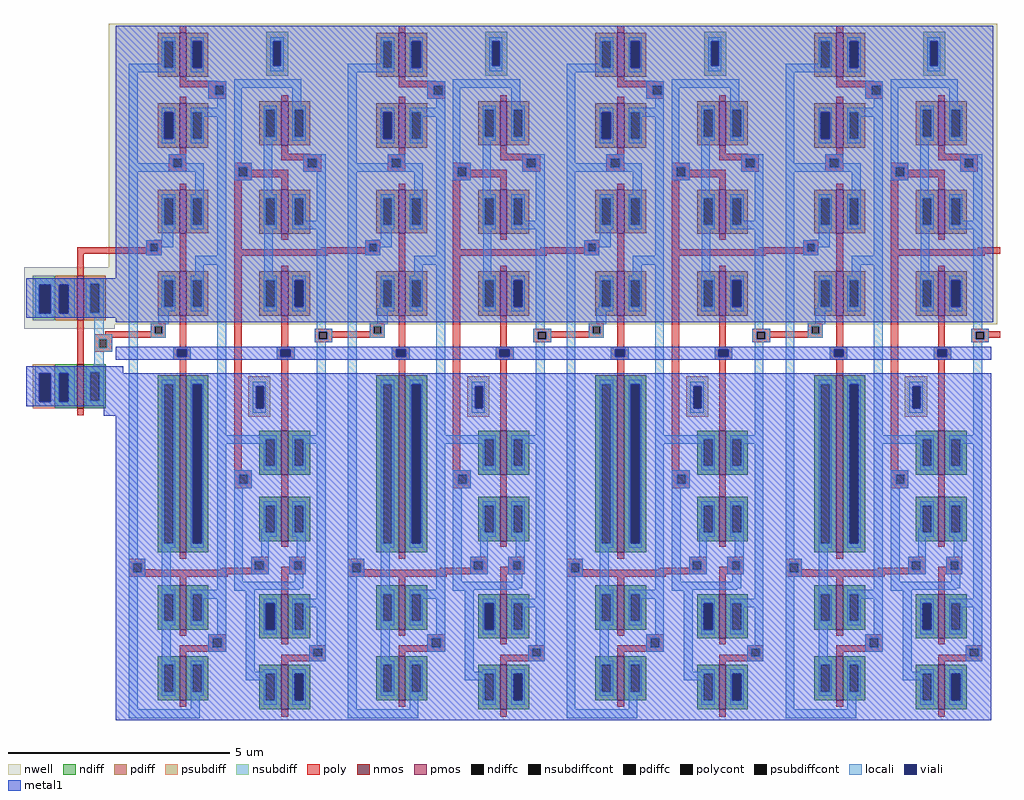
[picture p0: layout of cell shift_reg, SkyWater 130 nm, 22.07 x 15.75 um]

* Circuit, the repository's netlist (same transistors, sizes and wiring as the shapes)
* NGSPICE file created from shift_reg.ext - technology: sky130A

.subckt inverter VN VP A Y
X0 Y A VP VP sky130_fd_pr__pfet_01v8 ad=0.5 pd=3 as=0.5 ps=3 w=1 l=0.15
X1 Y A VN VN sky130_fd_pr__nfet_01v8 ad=0.5 pd=3 as=0.5 ps=3 w=1 l=0.15
.ends

.subckt csrl_latch D D_bar CLK VN VP Q Q_bar
X0 VN CLK a_n100_n1040# VN sky130_fd_pr__nfet_01v8 ad=2 pd=9 as=2 ps=9 w=4 l=0.15
X1 a_0_n1070# CLK D_bar VP sky130_fd_pr__pfet_01v8 ad=0.5 pd=3 as=0.5 ps=3 w=1 l=0.15
X2 Q Q_bar a_360_700# VP sky130_fd_pr__pfet_01v8 ad=0.5 pd=3 as=0.5 ps=3 w=1 l=0.15
X3 a_0_n1070# a_n230_n480# VP VP sky130_fd_pr__pfet_01v8 ad=0.5 pd=3 as=0.5 ps=3 w=1 l=0.15
X4 a_0_n1070# a_n230_n480# a_n100_n1040# VN sky130_fd_pr__nfet_01v8 ad=0.5 pd=3 as=0.5 ps=3 w=1 l=0.15
X5 Q_bar Q VN VN sky130_fd_pr__nfet_01v8 ad=0.5 pd=3 as=0.5 ps=3 w=1 l=0.15
X6 Q_bar Q a_360_700# VP sky130_fd_pr__pfet_01v8 ad=0.5 pd=3 as=0.5 ps=3 w=1 l=0.15
X7 VN Q_bar Q VN sky130_fd_pr__nfet_01v8 ad=0.5 pd=3 as=0.5 ps=3 w=1 l=0.15
X8 a_n230_n480# a_0_n1070# a_n100_n1040# VN sky130_fd_pr__nfet_01v8 ad=0.5 pd=3 as=0.5 ps=3 w=1 l=0.15
X9 VP a_0_n1070# a_n230_n480# VP sky130_fd_pr__pfet_01v8 ad=0.5 pd=3 as=0.5 ps=3 w=1 l=0.15
X10 VP CLK a_360_700# VP sky130_fd_pr__pfet_01v8 ad=0.5 pd=3 as=0.5 ps=3 w=1 l=0.15
X11 Q CLK a_n230_n480# VN sky130_fd_pr__nfet_01v8 ad=0.5 pd=3 as=0.5 ps=3 w=1 l=0.15
X12 Q_bar CLK a_0_n1070# VN sky130_fd_pr__nfet_01v8 ad=0.5 pd=3 as=0.5 ps=3 w=1 l=0.15
X13 a_n230_n480# CLK D VP sky130_fd_pr__pfet_01v8 ad=0.495 pd=2.98 as=0.495 ps=2.98 w=0.99 l=0.15
.ends


* Top level circuit shift_reg

Xinverter_0 VSUBS inverter_0/VP inverter_0/A inverter_0/Y inverter
Xcsrl_latch_0 inverter_0/A inverter_0/Y csrl_latch_3/CLK VSUBS inverter_0/VP csrl_latch_1/D
+ csrl_latch_1/D_bar csrl_latch
Xcsrl_latch_1 csrl_latch_1/D csrl_latch_1/D_bar csrl_latch_3/CLK VSUBS inverter_0/VP
+ csrl_latch_2/D csrl_latch_2/D_bar csrl_latch
Xcsrl_latch_2 csrl_latch_2/D csrl_latch_2/D_bar csrl_latch_3/CLK VSUBS inverter_0/VP
+ csrl_latch_3/D csrl_latch_3/D_bar csrl_latch
Xcsrl_latch_3 csrl_latch_3/D csrl_latch_3/D_bar csrl_latch_3/CLK VSUBS inverter_0/VP
+ csrl_latch_3/Q csrl_latch_3/Q_bar csrl_latch
.end

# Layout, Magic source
magic
tech sky130A
<< poly >>
rect -72 1055 10 1070
rect -72 1020 -57 1055
rect -8 871 8 880
<< metal1 >>
rect -5 910 24 1000
rect -12 689 32 800
use csrl_latch  csrl_latch_0
transform 1 0 160 0 1 565
box -160 -565 370 1010
use csrl_latch  csrl_latch_1
transform 1 0 655 0 1 565
box -160 -565 370 1010
use csrl_latch  csrl_latch_2
transform 1 0 1150 0 1 565
box -160 -565 370 1010
use csrl_latch  csrl_latch_3
transform 1 0 1645 0 1 565
box -160 -565 370 1010
use inverter  inverter_0
transform 1 0 -72 0 1 705
box -120 -15 85 319
<< end >>

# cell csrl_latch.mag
magic
tech sky130A
<< nwell >>
rect -160 330 364 1010
<< nmos >>
rect 0 -185 15 215
rect 230 -10 245 90
rect 230 -160 245 -60
rect 0 -360 15 -260
rect 230 -380 245 -280
rect 0 -520 15 -420
rect 230 -540 245 -440
<< pmos >>
rect 0 890 15 990
rect 0 730 15 830
rect 230 735 245 835
rect 0 536 15 635
rect 230 535 245 635
rect 0 350 15 450
rect 230 350 245 450
<< ndiff >>
rect -50 195 0 215
rect -50 -165 -35 195
rect -15 -165 0 195
rect -50 -185 0 -165
rect 15 195 65 215
rect 15 -165 30 195
rect 50 -165 65 195
rect 180 70 230 90
rect 180 10 195 70
rect 215 10 230 70
rect 180 -10 230 10
rect 245 70 295 90
rect 245 10 260 70
rect 280 10 295 70
rect 245 -10 295 10
rect 180 -80 230 -60
rect 180 -140 195 -80
rect 215 -140 230 -80
rect 180 -160 230 -140
rect 245 -80 295 -60
rect 245 -140 260 -80
rect 280 -140 295 -80
rect 245 -160 295 -140
rect 15 -185 65 -165
rect -50 -280 0 -260
rect -50 -340 -35 -280
rect -15 -340 0 -280
rect -50 -360 0 -340
rect 15 -280 65 -260
rect 15 -340 30 -280
rect 50 -340 65 -280
rect 15 -360 65 -340
rect 180 -300 230 -280
rect 180 -360 195 -300
rect 215 -360 230 -300
rect 180 -380 230 -360
rect 245 -300 295 -280
rect 245 -360 260 -300
rect 280 -360 295 -300
rect 245 -380 295 -360
rect -50 -440 0 -420
rect -50 -500 -35 -440
rect -15 -500 0 -440
rect -50 -520 0 -500
rect 15 -440 65 -420
rect 15 -500 30 -440
rect 50 -500 65 -440
rect 15 -520 65 -500
rect 180 -460 230 -440
rect 180 -520 195 -460
rect 215 -520 230 -460
rect 180 -540 230 -520
rect 245 -460 295 -440
rect 245 -520 260 -460
rect 280 -520 295 -460
rect 245 -540 295 -520
<< pdiff >>
rect -50 970 0 990
rect -50 910 -35 970
rect -15 910 0 970
rect -50 890 0 910
rect 15 970 65 990
rect 15 910 30 970
rect 50 910 65 970
rect 15 890 65 910
rect -50 810 0 830
rect -50 750 -35 810
rect -15 750 0 810
rect -50 730 0 750
rect 15 810 65 830
rect 15 750 30 810
rect 50 750 65 810
rect 15 730 65 750
rect 180 815 230 835
rect 180 755 195 815
rect 215 755 230 815
rect 180 735 230 755
rect 245 815 295 835
rect 245 755 260 815
rect 280 755 295 815
rect 245 735 295 755
rect -50 615 0 635
rect -50 555 -35 615
rect -15 555 0 615
rect -50 536 0 555
rect 15 615 65 635
rect 15 555 30 615
rect 50 555 65 615
rect 15 536 65 555
rect 180 615 230 635
rect 180 555 195 615
rect 215 555 230 615
rect 180 535 230 555
rect 245 615 295 635
rect 245 555 260 615
rect 280 555 295 615
rect 245 535 295 555
rect -50 430 0 450
rect -50 370 -35 430
rect -15 370 0 430
rect -50 350 0 370
rect 15 430 65 450
rect 15 370 30 430
rect 50 370 65 430
rect 15 350 65 370
rect 180 430 230 450
rect 180 370 195 430
rect 215 370 230 430
rect 180 350 230 370
rect 245 430 295 450
rect 245 370 260 430
rect 280 370 295 430
rect 245 350 295 370
<< ndiffc >>
rect -35 -165 -15 195
rect 30 -165 50 195
rect 195 10 215 70
rect 260 10 280 70
rect 195 -140 215 -80
rect 260 -140 280 -80
rect -35 -340 -15 -280
rect 30 -340 50 -280
rect 195 -360 215 -300
rect 260 -360 280 -300
rect -35 -500 -15 -440
rect 30 -500 50 -440
rect 195 -520 215 -460
rect 260 -520 280 -460
<< pdiffc >>
rect -35 910 -15 970
rect 30 910 50 970
rect -35 750 -15 810
rect 30 750 50 810
rect 195 755 215 815
rect 260 755 280 815
rect -35 555 -15 615
rect 30 555 50 615
rect 195 555 215 615
rect 260 555 280 615
rect -35 370 -15 430
rect 30 370 50 430
rect 195 370 215 430
rect 260 370 280 430
<< psubdiff >>
rect 155 190 205 213
rect 155 140 173 190
rect 190 140 205 190
rect 155 121 205 140
<< nsubdiff >>
rect 196 970 246 992
rect 196 915 212 970
rect 229 915 246 970
rect 196 892 246 915
<< psubdiffcont >>
rect 173 140 190 190
<< nsubdiffcont >>
rect 212 915 229 970
<< poly >>
rect 0 990 15 1005
rect 0 881 15 890
rect 0 880 80 881
rect 0 870 105 880
rect 0 866 80 870
rect 65 850 80 866
rect 100 850 105 870
rect 0 830 15 845
rect 65 840 105 850
rect 230 835 245 848
rect 0 715 15 730
rect -25 705 15 715
rect -25 685 -15 705
rect 5 685 15 705
rect 230 716 245 735
rect 230 715 295 716
rect 230 705 320 715
rect 230 701 290 705
rect -25 675 15 685
rect 123 685 163 696
rect 123 665 134 685
rect 153 680 163 685
rect 280 685 290 701
rect 310 685 320 705
rect 153 665 245 680
rect 280 675 320 685
rect 123 663 245 665
rect 123 656 163 663
rect 0 635 15 648
rect -75 512 -41 520
rect -75 505 -66 512
rect -155 495 -66 505
rect -49 495 -41 512
rect -155 490 -41 495
rect -75 487 -41 490
rect 0 450 15 536
rect 123 500 140 656
rect 230 635 245 663
rect 230 522 245 535
rect 320 500 370 505
rect 123 490 370 500
rect 123 485 335 490
rect -65 326 -31 333
rect -65 315 -56 326
rect -155 309 -56 315
rect -39 309 -31 326
rect -155 300 -31 309
rect 0 280 15 350
rect -15 274 25 280
rect -15 257 -5 274
rect 16 257 25 274
rect -15 250 25 257
rect 0 215 15 250
rect 123 0 140 485
rect 230 450 245 463
rect 230 280 245 350
rect 305 315 345 320
rect 305 314 370 315
rect 305 297 315 314
rect 334 300 370 314
rect 334 297 345 300
rect 305 290 345 297
rect 220 274 260 280
rect 220 257 229 274
rect 250 257 260 274
rect 220 250 260 257
rect 230 90 245 250
rect 123 -10 163 0
rect 123 -30 135 -10
rect 154 -30 163 -10
rect 123 -40 163 -30
rect 230 -60 245 -10
rect 230 -173 245 -160
rect 0 -200 15 -185
rect -115 -210 -78 -200
rect -115 -230 -105 -210
rect -86 -224 -78 -210
rect 162 -205 202 -195
rect 162 -220 170 -205
rect -86 -225 -55 -224
rect 93 -225 170 -220
rect 190 -225 202 -205
rect 248 -205 285 -195
rect 248 -218 259 -205
rect -86 -230 202 -225
rect -115 -235 202 -230
rect 230 -225 259 -218
rect 276 -225 285 -205
rect 230 -235 285 -225
rect -115 -240 109 -235
rect 0 -260 15 -240
rect 230 -280 245 -235
rect 0 -374 15 -360
rect 65 -380 105 -370
rect 65 -395 75 -380
rect 0 -400 75 -395
rect 95 -400 105 -380
rect 230 -393 245 -380
rect 0 -410 105 -400
rect 293 -403 330 -395
rect 0 -420 15 -410
rect 293 -417 302 -403
rect 230 -420 302 -417
rect 322 -420 330 -403
rect 230 -432 330 -420
rect 230 -440 245 -432
rect 0 -535 15 -520
rect 230 -557 245 -540
<< polycont >>
rect 80 850 100 870
rect -15 685 5 705
rect 134 665 153 685
rect 290 685 310 705
rect -66 495 -49 512
rect -56 309 -39 326
rect -5 257 16 274
rect 315 297 334 314
rect 229 257 250 274
rect 135 -30 154 -10
rect -105 -230 -86 -210
rect 170 -225 190 -205
rect 259 -225 276 -205
rect 75 -400 95 -380
rect 302 -420 322 -403
<< locali >>
rect -40 970 -10 980
rect -40 920 -35 970
rect -115 910 -35 920
rect -15 910 -10 970
rect -115 900 -10 910
rect 25 970 55 980
rect 25 910 30 970
rect 50 910 55 970
rect 25 900 55 910
rect 205 970 235 980
rect 205 915 212 970
rect 229 915 235 970
rect 205 903 235 915
rect -115 695 -95 900
rect 65 880 85 881
rect 65 870 105 880
rect 65 850 80 870
rect 100 850 105 870
rect 65 840 105 850
rect 85 820 105 840
rect -40 810 -10 820
rect -40 750 -35 810
rect -15 750 -10 810
rect -40 740 -10 750
rect 25 810 105 820
rect 25 750 30 810
rect 50 800 105 810
rect 50 750 55 800
rect 25 740 55 750
rect -25 705 15 715
rect -25 695 -15 705
rect -115 685 -15 695
rect 5 695 15 705
rect 5 685 55 695
rect -115 675 55 685
rect -115 -200 -95 675
rect 35 625 55 675
rect -40 615 -10 625
rect -40 555 -35 615
rect -15 555 -10 615
rect -40 545 -10 555
rect 25 615 55 625
rect 25 555 30 615
rect 50 555 55 615
rect 25 545 55 555
rect -40 522 -15 545
rect -58 520 -15 522
rect -75 512 -15 520
rect -75 495 -66 512
rect -49 505 -15 512
rect -49 495 -41 505
rect -75 487 -41 495
rect 85 485 105 800
rect 123 865 275 885
rect 123 696 140 865
rect 255 825 275 865
rect 190 815 220 825
rect 190 755 195 815
rect 215 755 220 815
rect 190 745 220 755
rect 255 815 285 825
rect 255 755 260 815
rect 280 755 285 815
rect 255 745 285 755
rect 123 685 163 696
rect 123 665 134 685
rect 153 665 163 685
rect 123 656 163 665
rect 190 625 209 745
rect 280 705 330 715
rect 280 685 290 705
rect 310 685 330 705
rect 280 675 330 685
rect 190 615 220 625
rect 190 555 195 615
rect 215 555 220 615
rect 190 545 220 555
rect 255 615 285 625
rect 255 555 260 615
rect 280 565 285 615
rect 310 565 330 675
rect 280 555 330 565
rect 255 545 330 555
rect 35 465 105 485
rect 35 440 55 465
rect -40 430 -10 440
rect -40 378 -35 430
rect -42 370 -35 378
rect -15 370 -10 430
rect -42 367 -10 370
rect -48 360 -10 367
rect 25 430 55 440
rect 25 370 30 430
rect 50 370 55 430
rect 25 360 55 370
rect -48 333 -25 360
rect -65 330 -25 333
rect -65 326 -31 330
rect -65 309 -56 326
rect -39 309 -31 326
rect -65 300 -31 309
rect -15 274 25 280
rect -15 257 -5 274
rect 16 257 25 274
rect -15 250 25 257
rect -40 195 -10 205
rect -40 -165 -35 195
rect -15 -165 -10 195
rect -40 -175 -10 -165
rect 25 195 55 205
rect 25 -165 30 195
rect 50 -165 55 195
rect 25 -175 55 -165
rect 85 80 105 465
rect 191 440 210 545
rect 190 430 220 440
rect 190 370 195 430
rect 215 370 220 430
rect 190 360 220 370
rect 255 430 285 440
rect 255 370 260 430
rect 280 370 285 430
rect 255 360 285 370
rect 310 320 330 545
rect 305 314 345 320
rect 305 297 315 314
rect 334 297 345 314
rect 305 290 345 297
rect 220 274 260 280
rect 220 257 229 274
rect 250 257 260 274
rect 220 250 260 257
rect 165 190 195 200
rect 165 140 173 190
rect 190 140 195 190
rect 165 130 195 140
rect 310 80 330 290
rect 85 70 220 80
rect 85 60 195 70
rect -115 -210 -78 -200
rect -115 -230 -105 -210
rect -86 -230 -78 -210
rect -115 -240 -78 -230
rect -115 -540 -95 -240
rect -40 -270 -20 -175
rect 85 -270 105 60
rect 190 10 195 60
rect 215 10 220 70
rect 190 0 220 10
rect 255 70 330 80
rect 255 10 260 70
rect 280 60 330 70
rect 280 10 285 60
rect 255 0 285 10
rect -40 -280 -10 -270
rect -40 -340 -35 -280
rect -15 -340 -10 -280
rect -40 -350 -10 -340
rect 25 -280 105 -270
rect 123 -10 163 0
rect 123 -30 135 -10
rect 154 -30 163 -10
rect 123 -40 163 -30
rect 123 -252 143 -40
rect 190 -80 220 -70
rect 190 -132 195 -80
rect 185 -140 195 -132
rect 215 -140 220 -80
rect 185 -150 220 -140
rect 255 -80 285 -70
rect 255 -140 260 -80
rect 280 -140 285 -80
rect 255 -150 285 -140
rect 185 -195 202 -150
rect 265 -195 285 -150
rect 162 -205 202 -195
rect 162 -225 170 -205
rect 190 -225 202 -205
rect 162 -235 202 -225
rect 248 -205 285 -195
rect 248 -225 259 -205
rect 276 -225 285 -205
rect 248 -235 285 -225
rect 260 -252 280 -235
rect 123 -266 280 -252
rect 123 -270 271 -266
rect 123 -272 170 -270
rect 25 -340 30 -280
rect 50 -290 105 -280
rect 50 -340 55 -290
rect 25 -350 55 -340
rect -40 -430 -20 -350
rect 85 -370 105 -290
rect 65 -380 105 -370
rect 65 -400 75 -380
rect 95 -400 105 -380
rect 65 -410 105 -400
rect -40 -440 -10 -430
rect -40 -500 -35 -440
rect -15 -500 -10 -440
rect -40 -510 -10 -500
rect 25 -440 55 -430
rect 25 -500 30 -440
rect 50 -500 55 -440
rect 150 -455 170 -272
rect 310 -290 330 60
rect 190 -300 220 -290
rect 190 -360 195 -300
rect 215 -360 220 -300
rect 190 -370 220 -360
rect 255 -300 330 -290
rect 255 -360 260 -300
rect 280 -310 330 -300
rect 280 -360 285 -310
rect 255 -370 285 -360
rect 310 -395 330 -310
rect 293 -403 330 -395
rect 293 -420 302 -403
rect 322 -420 330 -403
rect 293 -432 330 -420
rect 190 -455 220 -450
rect 150 -460 220 -455
rect 150 -474 195 -460
rect 25 -510 55 -500
rect 25 -540 45 -510
rect 190 -520 195 -474
rect 215 -520 220 -460
rect 190 -530 220 -520
rect 255 -460 285 -450
rect 255 -520 260 -460
rect 280 -520 285 -460
rect 255 -530 285 -520
rect -115 -560 45 -540
<< viali >>
rect 30 910 50 970
rect 212 915 229 970
rect -35 750 -15 810
rect -5 257 16 274
rect 30 -165 50 195
rect 260 370 280 430
rect 229 257 250 274
rect 173 140 190 190
rect 195 -360 215 -300
rect 260 -520 280 -460
<< metal1 >>
rect -145 970 355 1005
rect -145 910 30 970
rect 50 915 212 970
rect 229 915 355 970
rect 50 910 355 915
rect -145 810 355 910
rect -145 750 -35 810
rect -15 750 355 810
rect -145 430 355 750
rect -145 370 260 430
rect 280 370 355 430
rect -145 335 355 370
rect -145 274 350 280
rect -145 257 -5 274
rect 16 257 229 274
rect 250 257 350 274
rect -145 250 350 257
rect -145 195 350 220
rect -145 -165 30 195
rect 50 190 350 195
rect 50 140 173 190
rect 190 140 350 190
rect 50 -165 350 140
rect -145 -300 350 -165
rect -145 -360 195 -300
rect 215 -360 350 -300
rect -145 -460 350 -360
rect -145 -520 260 -460
rect 280 -520 350 -460
rect -145 -565 350 -520
<< labels >>
rlabel metal1 -145 640 -145 640 7 VP
port 5 w
rlabel metal1 -145 160 -145 160 7 VN
port 4 w
rlabel metal1 -145 265 -145 265 7 CLK
port 3 w
rlabel poly -155 308 -155 308 7 D_bar
port 2 w
rlabel poly -155 498 -155 498 7 D
port 1 w
rlabel poly 370 497 370 497 3 Q
port 6 e
rlabel poly 370 308 370 308 3 Q_bar
port 7 e
<< end >>

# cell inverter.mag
magic
tech sky130A
<< nwell >>
rect -120 180 85 319
<< nmos >>
rect 0 0 15 100
<< pmos >>
rect 0 200 15 300
<< ndiff >>
rect -50 80 0 100
rect -50 15 -40 80
rect -20 15 0 80
rect -50 0 0 15
rect 15 82 65 100
rect 15 17 30 82
rect 50 17 65 82
rect 15 0 65 17
<< pdiff >>
rect -50 280 0 300
rect -50 215 -40 280
rect -20 215 0 280
rect -50 200 0 215
rect 15 282 65 300
rect 15 217 30 282
rect 50 217 65 282
rect 15 200 65 217
<< ndiffc >>
rect -40 15 -20 80
rect 30 17 50 82
<< pdiffc >>
rect -40 215 -20 280
rect 30 217 50 282
<< psubdiff >>
rect -100 80 -50 100
rect -100 15 -85 80
rect -60 15 -50 80
rect -100 0 -50 15
<< nsubdiff >>
rect -100 280 -50 300
rect -100 215 -85 280
rect -60 215 -50 280
rect -100 200 -50 215
<< psubdiffcont >>
rect -85 15 -60 80
<< nsubdiffcont >>
rect -85 215 -60 280
<< poly >>
rect 0 300 15 315
rect 0 100 15 200
rect 39 157 79 168
rect 39 137 50 157
rect 67 137 79 157
rect 39 128 79 137
rect 0 -15 15 0
<< polycont >>
rect 50 137 67 157
<< locali >>
rect -95 280 -5 295
rect -95 215 -85 280
rect -60 215 -40 280
rect -20 215 -5 280
rect -95 205 -5 215
rect 20 282 60 295
rect 20 217 30 282
rect 50 217 60 282
rect 20 205 60 217
rect 39 168 60 205
rect 39 157 79 168
rect 39 137 50 157
rect 67 137 79 157
rect 39 128 79 137
rect 39 95 60 128
rect -95 80 -5 95
rect -95 15 -85 80
rect -60 15 -40 80
rect -20 15 -5 80
rect -95 5 -5 15
rect 20 82 60 95
rect 20 17 30 82
rect 50 17 60 82
rect 20 5 60 17
<< viali >>
rect -85 215 -60 280
rect -40 215 -20 280
rect -85 15 -60 80
rect -40 15 -20 80
<< metal1 >>
rect -115 280 80 295
rect -115 215 -85 280
rect -60 215 -40 280
rect -20 215 80 280
rect -115 205 80 215
rect -115 80 80 95
rect -115 15 -85 80
rect -60 15 -40 80
rect -20 15 80 80
rect -115 5 80 15
<< labels >>
rlabel metal1 -115 50 -115 50 7 VN
port 1 w
rlabel metal1 -115 250 -115 250 7 VP
port 2 w
rlabel poly 7 315 7 315 1 A
port 3 n
rlabel locali 79 148 79 148 3 Y
port 4 e
<< end >>
